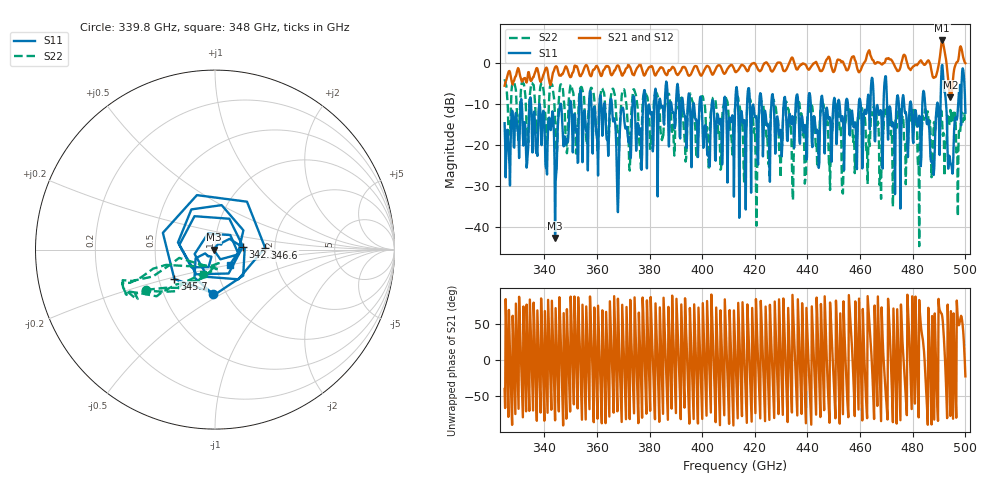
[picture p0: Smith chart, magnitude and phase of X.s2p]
!Created with skrf (http://scikit-rf.org).
# GHz S RI R 50.0
!freq ReS11 ImS11 ReS21 ImS21 ReS12 ImS12 ReS22 ImS22
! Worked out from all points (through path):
!   859 points, 324.9 GHz to 500.1 GHz, reference 50 ohm
!   highest |S21| = 5.57 dB at 491.3 GHz (marker M1); lowest = -8.3 dB at 494.4 GHz (marker M2)
!   lowest |S11| = -42.6 dB at 344.1 GHz (marker M3), VSWR 1.01, Z = 49.3 - j0.0312 ohm
!   |S11| at or under -10 dB: start of sweep to 331 GHz; 338.2 GHz to 346.1 GHz (7.887 GHz wide, 2.3 % of centre); 365.7 GHz to 373.6 GHz (7.88 GHz wide, 2.13 % of centre)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
!   |S22| runs from -44.6 to -3.9 dB; largest |S21 - S12| = 0
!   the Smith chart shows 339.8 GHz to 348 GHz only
!   S11 on the Smith chart (normalised r, x): 339.8 GHz: 0.87, -0.46; 342.3 GHz: 1.37, +0.05; 345.7 GHz: 0.60, -0.21; 346.6 GHz: 1.77, +0.04; 348 GHz: 1.16, -0.20
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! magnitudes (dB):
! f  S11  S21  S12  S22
! 324.9 GHz  -14.6  -5.5  -5.5  -3.9
! 339.8 GHz  -12.1  -2.6  -2.6  -7.0
! 342.3 GHz  -16.1  -5.3  -5.3  -5.3
! 344.1 GHz  -42.6  -1.0  -1.0  -13.8
! 345.7 GHz  -11.1  -3.0  -3.0  -7.1
! 346.6 GHz  -11.1  -2.7  -2.7  -5.6
! 348 GHz  -18.5  -0.9  -0.9  -16.5
! 354.3 GHz  -14.9  -2.6  -2.6  -6.0
! 365.7 GHz  -10.5  -2.9  -2.9  -6.6
! 368 GHz  -36.3  -0.5  -0.5  -19.1
! 369.6 GHz  -10.9  -3.0  -3.0  -7.0
! 383.3 GHz  -16.1  -1.9  -1.9  -8.4
! 412.5 GHz  -11.4  -2.0  -2.0  -11.1
! 439 GHz  -15.0  -0.2  -0.2  -29.3
! 441.9 GHz  -20.4  -0.5  -0.5  -10.6
! 453.1 GHz  -13.1  0.4  0.4  -29.3
! 470.9 GHz  -13.3  1.3  1.3  -12.7
! 484.6 GHz  -8.3  -0.4  -0.4  -12.2
! 487.6 GHz  -24.4  -3.2  -3.2  -25.2
! 491.3 GHz  -0.4  5.6  5.6  -15.2
! 494.4 GHz  -24.2  -8.3  -8.3  -11.4
! 500.1 GHz  -12.0  0.0  0.0  -13.9
